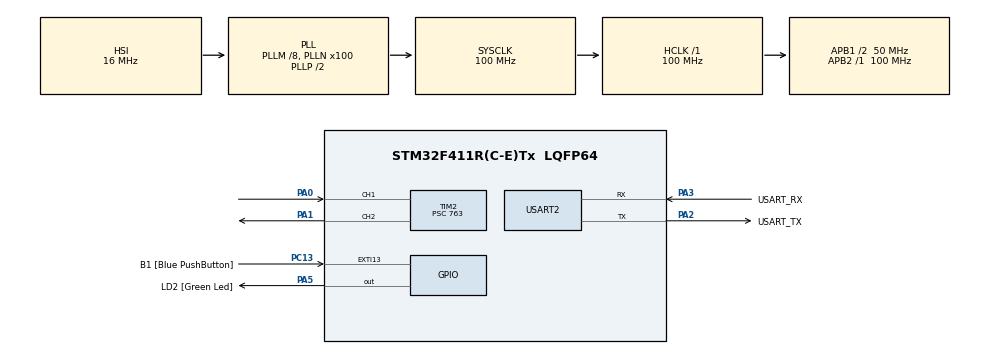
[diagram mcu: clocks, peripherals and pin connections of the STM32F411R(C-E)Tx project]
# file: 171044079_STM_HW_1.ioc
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Mcu.Family=STM32F4
Mcu.Name=STM32F411R(C-E)Tx
Mcu.Package=LQFP64
NVIC.PriorityGroup=NVIC_PRIORITYGROUP_0
NVIC.TIM2_IRQn=true\:0\:0\:false\:false\:true\:true\:true
PA0-WKUP.Signal=S_TIM2_CH1_ETR
PA1.Signal=S_TIM2_CH2
PA13.GPIO_Label=TMS
PA13.Mode=Serial_Wire
PA13.Signal=SYS_JTMS-SWDIO
PA14.GPIO_Label=TCK
PA14.Mode=Serial_Wire
PA14.Signal=SYS_JTCK-SWCLK
PA2.GPIO_Label=USART_TX
PA2.Mode=Asynchronous
PA2.Signal=USART2_TX
PA3.GPIO_Label=USART_RX
PA3.Mode=Asynchronous
PA3.Signal=USART2_RX
PA5.GPIO_Label=LD2 [Green Led]
PA5.Signal=GPIO_Output
PB3.GPIO_Label=SWO
PB3.Signal=SYS_JTDO-SWO
PC13-ANTI_TAMP.GPIO_Label=B1 [Blue PushButton]
PC13-ANTI_TAMP.GPIO_ModeDefaultEXTI=GPIO_MODE_IT_FALLING
PC13-ANTI_TAMP.Signal=GPXTI13
PC14-OSC32_IN.Mode=LSE-External-Oscillator
PC14-OSC32_IN.Signal=RCC_OSC32_IN
PC15-OSC32_OUT.Mode=LSE-External-Oscillator
PC15-OSC32_OUT.Signal=RCC_OSC32_OUT
PH0\ -\ OSC_IN.Mode=HSE-External-Clock-Source
PH0\ -\ OSC_IN.Signal=RCC_OSC_IN
PH1\ -\ OSC_OUT.Mode=HSE-External-Clock-Source
PH1\ -\ OSC_OUT.Signal=RCC_OSC_OUT
ProjectManager.HeapSize=0x200
ProjectManager.StackSize=0x400
ProjectManager.TargetToolchain=STM32CubeIDE
RCC.48MHZClocksFreq_Value=50000000
RCC.AHBFreq_Value=100000000
RCC.APB1CLKDivider=RCC_HCLK_DIV2
RCC.APB1Freq_Value=50000000
RCC.APB1TimFreq_Value=100000000
RCC.APB2Freq_Value=100000000
RCC.APB2TimFreq_Value=100000000
RCC.CortexFreq_Value=100000000
RCC.FLatency-AdvancedSettings=FLASH_LATENCY_3
RCC.HCLKFreq_Value=100000000
RCC.HSE_VALUE=8000000
RCC.HSI_VALUE=16000000
RCC.PLLM=8
RCC.PLLN=100
RCC.SYSCLKFreq_VALUE=100000000
RCC.SYSCLKSource=RCC_SYSCLKSOURCE_PLLCLK
RCC.VCOOutputFreq_Value=200000000
SH.S_TIM2_CH1_ETR.0=TIM2_CH1,Input_Capture1_from_TI1
SH.S_TIM2_CH2.0=TIM2_CH2,Output Compare2 CH2
TIM2.Channel-Input_Capture1_from_TI1=TIM_CHANNEL_1
TIM2.Channel-Output\ Compare2\ CH2=TIM_CHANNEL_2
TIM2.CounterMode=TIM_COUNTERMODE_DOWN
TIM2.OC2Preload=DISABLE
TIM2.OCMode_2=TIM_OCMODE_TOGGLE
TIM2.Period=65531
TIM2.Prescaler=763
TIM2.Pulse-Output\ Compare2\ CH2=66
USART2.VirtualMode=VM_ASYNC
VP_TIM2_VS_ClockSourceINT.Mode=Internal
board=NUCLEO-F411RE

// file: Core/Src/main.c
/* USER CODE BEGIN Header */
/**
  ******************************************************************************
  * @file           : main.c
  * @brief          : Main program body
  ******************************************************************************
  * @attention
  *
  * <h2><center>&copy; Copyright (c) 2020 STMicroelectronics.
  * All rights reserved.</center></h2>
  *
  * This software component is licensed by ST under BSD 3-Clause license,
  * the "License"; You may not use this file except in compliance with the
  * License. You may obtain a copy of the License at:
  *                        opensource.org/licenses/BSD-3-Clause
  *
  ******************************************************************************
  */
/* USER CODE END Header */

#include "main.h"

TIM_HandleTypeDef htim2;

UART_HandleTypeDef huart2;

/* USER CODE BEGIN PV */
uint32_t captured_value_1 = 0;
uint32_t captured_value_2 = 0;
uint32_t is_first_captured = 0;
double freq = 0;
uint32_t diff = 0;

/* USER CODE END PV */

void SystemClock_Config(void);
static void MX_GPIO_Init(void);
static void MX_USART2_UART_Init(void);
static void MX_TIM2_Init(void);

int main(void)
{

  /* MCU Configuration--------------------------------------------------------*/

  /* Reset of all peripherals, Initializes the Flash interface and the Systick. */
  HAL_Init();

  /* Configure the system clock */
  SystemClock_Config();

  /* Initialize all configured peripherals */
  MX_GPIO_Init();
  MX_USART2_UART_Init();
  MX_TIM2_Init();
  /* USER CODE BEGIN 2 */
  HAL_TIM_Base_Start_IT(&htim2);
  HAL_TIM_OC_Start_IT(&htim2,TIM_CHANNEL_2);
  HAL_TIM_IC_Start_IT(&htim2,TIM_CHANNEL_1);

  /* USER CODE END 2 */

  /* Infinite loop */
  while (1)
  {

  }
}

void SystemClock_Config(void)
{
  RCC_OscInitTypeDef RCC_OscInitStruct = {0};
  RCC_ClkInitTypeDef RCC_ClkInitStruct = {0};

  /** Configure the main internal regulator output voltage
  */
  __HAL_RCC_PWR_CLK_ENABLE();
  __HAL_PWR_VOLTAGESCALING_CONFIG(PWR_REGULATOR_VOLTAGE_SCALE1);
  /** Initializes the CPU, AHB and APB busses clocks
  */
  RCC_OscInitStruct.OscillatorType = RCC_OSCILLATORTYPE_HSI;
  RCC_OscInitStruct.HSIState = RCC_HSI_ON;
  RCC_OscInitStruct.HSICalibrationValue = RCC_HSICALIBRATION_DEFAULT;
  RCC_OscInitStruct.PLL.PLLState = RCC_PLL_ON;
  RCC_OscInitStruct.PLL.PLLSource = RCC_PLLSOURCE_HSI;
  RCC_OscInitStruct.PLL.PLLM = 8;
  RCC_OscInitStruct.PLL.PLLN = 100;
  RCC_OscInitStruct.PLL.PLLP = RCC_PLLP_DIV2;
  RCC_OscInitStruct.PLL.PLLQ = 4;
  if (HAL_RCC_OscConfig(&RCC_OscInitStruct) != HAL_OK)
  {
    Error_Handler();
  }
  /** Initializes the CPU, AHB and APB busses clocks
  */
  RCC_ClkInitStruct.ClockType = RCC_CLOCKTYPE_HCLK|RCC_CLOCKTYPE_SYSCLK
                              |RCC_CLOCKTYPE_PCLK1|RCC_CLOCKTYPE_PCLK2;
  RCC_ClkInitStruct.SYSCLKSource = RCC_SYSCLKSOURCE_PLLCLK;
  RCC_ClkInitStruct.AHBCLKDivider = RCC_SYSCLK_DIV1;
  RCC_ClkInitStruct.APB1CLKDivider = RCC_HCLK_DIV2;
  RCC_ClkInitStruct.APB2CLKDivider = RCC_HCLK_DIV1;

  if (HAL_RCC_ClockConfig(&RCC_ClkInitStruct, FLASH_LATENCY_3) != HAL_OK)
  {
    Error_Handler();
  }
}

static void MX_TIM2_Init(void)
{

  TIM_ClockConfigTypeDef sClockSourceConfig = {0};
  TIM_MasterConfigTypeDef sMasterConfig = {0};
  TIM_IC_InitTypeDef sConfigIC = {0};
  TIM_OC_InitTypeDef sConfigOC = {0};

  htim2.Instance = TIM2;
  htim2.Init.Prescaler = 763;
  htim2.Init.CounterMode = TIM_COUNTERMODE_DOWN;
  htim2.Init.Period = 65531;
  htim2.Init.ClockDivision = TIM_CLOCKDIVISION_DIV1;
  htim2.Init.AutoReloadPreload = TIM_AUTORELOAD_PRELOAD_DISABLE;
  if (HAL_TIM_Base_Init(&htim2) != HAL_OK)
  {
    Error_Handler();
  }
  sClockSourceConfig.ClockSource = TIM_CLOCKSOURCE_INTERNAL;
  if (HAL_TIM_ConfigClockSource(&htim2, &sClockSourceConfig) != HAL_OK)
  {
    Error_Handler();
  }
  if (HAL_TIM_IC_Init(&htim2) != HAL_OK)
  {
    Error_Handler();
  }
  if (HAL_TIM_OC_Init(&htim2) != HAL_OK)
  {
    Error_Handler();
  }
  sMasterConfig.MasterOutputTrigger = TIM_TRGO_RESET;
  sMasterConfig.MasterSlaveMode = TIM_MASTERSLAVEMODE_DISABLE;
  if (HAL_TIMEx_MasterConfigSynchronization(&htim2, &sMasterConfig) != HAL_OK)
  {
    Error_Handler();
  }
  sConfigIC.ICPolarity = TIM_INPUTCHANNELPOLARITY_RISING;
  sConfigIC.ICSelection = TIM_ICSELECTION_DIRECTTI;
  sConfigIC.ICPrescaler = TIM_ICPSC_DIV1;
  sConfigIC.ICFilter = 0;
  if (HAL_TIM_IC_ConfigChannel(&htim2, &sConfigIC, TIM_CHANNEL_1) != HAL_OK)
  {
    Error_Handler();
  }
  sConfigOC.OCMode = TIM_OCMODE_TOGGLE;
  sConfigOC.Pulse = 66;
  sConfigOC.OCPolarity = TIM_OCPOLARITY_HIGH;
  sConfigOC.OCFastMode = TIM_OCFAST_DISABLE;
  if (HAL_TIM_OC_ConfigChannel(&htim2, &sConfigOC, TIM_CHANNEL_2) != HAL_OK)
  {
    Error_Handler();
  }
  HAL_TIM_MspPostInit(&htim2);

}

static void MX_USART2_UART_Init(void)
{

  huart2.Instance = USART2;
  huart2.Init.BaudRate = 115200;
  huart2.Init.WordLength = UART_WORDLENGTH_8B;
  huart2.Init.StopBits = UART_STOPBITS_1;
  huart2.Init.Parity = UART_PARITY_NONE;
  huart2.Init.Mode = UART_MODE_TX_RX;
  huart2.Init.HwFlowCtl = UART_HWCONTROL_NONE;
  huart2.Init.OverSampling = UART_OVERSAMPLING_16;
  if (HAL_UART_Init(&huart2) != HAL_OK)
  {
    Error_Handler();
  }

}

static void MX_GPIO_Init(void)
{
  GPIO_InitTypeDef GPIO_InitStruct = {0};

  /* GPIO Ports Clock Enable */
  __HAL_RCC_GPIOC_CLK_ENABLE();
  __HAL_RCC_GPIOH_CLK_ENABLE();
  __HAL_RCC_GPIOA_CLK_ENABLE();
  __HAL_RCC_GPIOB_CLK_ENABLE();

  /*Configure GPIO pin Output Level */
  HAL_GPIO_WritePin(LD2_GPIO_Port, LD2_Pin, GPIO_PIN_RESET);

  /*Configure GPIO pin : B1_Pin */
  GPIO_InitStruct.Pin = B1_Pin;
  GPIO_InitStruct.Mode = GPIO_MODE_IT_FALLING;
  GPIO_InitStruct.Pull = GPIO_NOPULL;
  HAL_GPIO_Init(B1_GPIO_Port, &GPIO_InitStruct);

  /*Configure GPIO pin : LD2_Pin */
  GPIO_InitStruct.Pin = LD2_Pin;
  GPIO_InitStruct.Mode = GPIO_MODE_OUTPUT_PP;
  GPIO_InitStruct.Pull = GPIO_NOPULL;
  GPIO_InitStruct.Speed = GPIO_SPEED_FREQ_LOW;
  HAL_GPIO_Init(LD2_GPIO_Port, &GPIO_InitStruct);

}

/* USER CODE BEGIN 4 */
void HAL_TIM_PeriodElapsedCallback(TIM_HandleTypeDef * htim){
	 if (htim->Instance==TIM2){
		 HAL_GPIO_TogglePin(LD2_GPIO_Port, LD2_Pin);
	 }
}

void HAL_TIM_OC_DelayElapsedCallback(TIM_HandleTypeDef *htim){
	uint32_t capture_content;
	if(htim->Channel == HAL_TIM_ACTIVE_CHANNEL_2){
		capture_content = HAL_TIM_ReadCapturedValue(htim,TIM_CHANNEL_2);
		__HAL_TIM_SET_COMPARE(htim, TIM_CHANNEL_2, capture_content+66);
	}
}

void HAL_TIM_IC_CaptureCallback(TIM_HandleTypeDef *htim){
	if(htim->Channel == HAL_TIM_ACTIVE_CHANNEL_1){
		if(is_first_captured == 0){
			captured_value_1 = HAL_TIM_ReadCapturedValue(htim, TIM_CHANNEL_1);
			is_first_captured = 1;
		}
		else if(is_first_captured == 1){
			captured_value_2 = HAL_TIM_ReadCapturedValue(htim, TIM_CHANNEL_1);
			if(captured_value_2 > captured_value_1){
				diff = captured_value_2 - captured_value_1;
			}
			else{
				diff = captured_value_1 - captured_value_2;
			}
			is_first_captured = 0;

			freq = 1.0 / (diff * 7630);
			freq *= 1000000 ; // converting to khz
		}

	}
}

/* USER CODE END 4 */

void Error_Handler(void)
{
}

/************************ (C) COPYRIGHT STMicroelectronics *****END OF FILE****/
